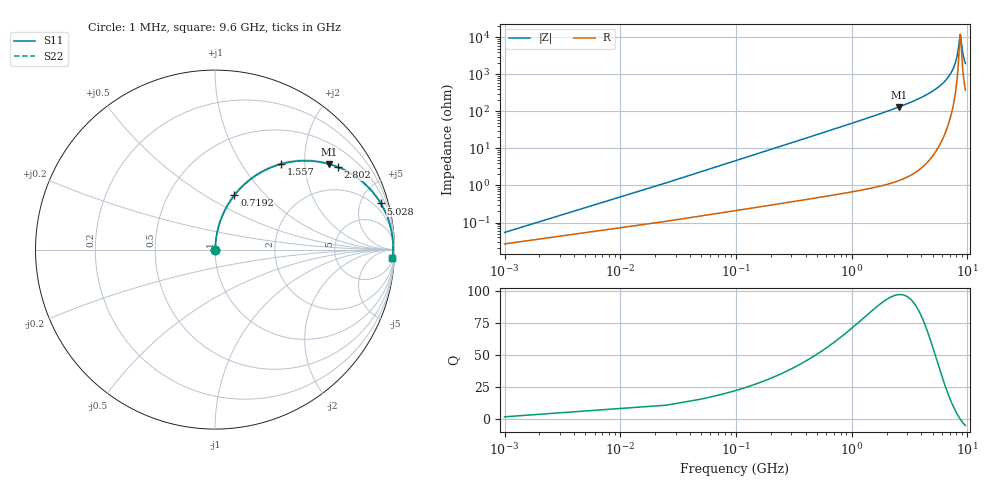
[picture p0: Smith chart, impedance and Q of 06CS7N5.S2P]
! Coilcraft 0603CS-7N5 Chip Inductor
! 21 May 2002
# MHZ S MA R 50
!Freq  MagS11  AngS11  MagS21  AngS21  MagS12  AngS12  MagS22  AngS22
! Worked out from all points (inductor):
!   402 points, 1 MHz to 9.6 GHz, reference 50 ohm
!   read as one part in series: L = 7.5 nH near 48.88 MHz
!   highest Q = 97.6 at 2.563 GHz (marker M1), where L = 8.22 nH
!   self-resonance near 8.643 GHz
!   S11 on the Smith chart (normalised r, x): 1 MHz: 1.00, +0.00; 719.2 MHz: 1.01, +0.68; 1.557 GHz: 1.02, +1.52; 2.802 GHz: 1.03, +2.95; 5.028 GHz: 1.13, +7.14; 9.6 GHz: 9, -38
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1  0.00054 60.7  0.9997 -0.0  0.9997 -0.0  0.00054 60.7
72.82  0.03428 85.0  0.9976 -2.0  0.9976 -2.0  0.03428 85.0
96.76  0.04551 84.8  0.9969 -2.6  0.9969 -2.6  0.04551 84.8
144.64  0.0679 84.0  0.9952 -3.9  0.9952 -3.9  0.0679 84.0
240.4  0.1123 81.9  0.9905 -6.4  0.9905 -6.4  0.1123 81.9
360.1  0.167 79.1  0.9821 -9.6  0.9821 -9.6  0.167 79.1
719.2  0.3214 70.3  0.9417 -18.7  0.9417 -18.7  0.3214 70.3
1557.1  0.6009 52.4  0.7924 -36.9  0.7924 -36.9  0.6009 52.4
1604.98  0.6132 51.5  0.7829 -37.8  0.7829 -37.8  0.6132 51.5
2562.58  0.7939 36.9  0.5999 -52.6  0.5999 -52.6  0.7939 36.9
2801.98  0.8237 34.0  0.5586 -55.5  0.5586 -55.5  0.8237 34.0
3208.96  0.8646 29.6  0.4933 -59.8  0.4933 -59.8  0.8646 29.6
4812.94  0.9522 16.9  0.2903 -72.2  0.2903 -72.2  0.9522 16.9
5028.4  0.9585 15.6  0.2683 -73.4  0.2683 -73.4  0.9585 15.6
6416.92  0.9835 8.4  0.147 -79.4  0.147 -79.4  0.9835 8.4
7374.52  0.9903 4.5  0.07888 -80.7  0.07888 -80.7  0.9903 4.5
8020.9  0.9919 2.2  0.03835 -76.7  0.03835 -76.7  0.9919 2.2
8284.24  0.992 1.3  0.02325 -69.3  0.02325 -69.3  0.992 1.3
8595.46  0.9918 0.2  0.009103 -26.0  0.009103 -26.0  0.9918 0.2
8667.28  0.9917 -0.0  0.00827 0.1  0.00827 0.1  0.9917 -0.0
9122.14  0.9907 -1.4  0.02638 68.8  0.02638 68.8  0.9907 -1.4
9600  0.9891 -2.8  0.05049 76.1  0.05049 76.1  0.9891 -2.8
